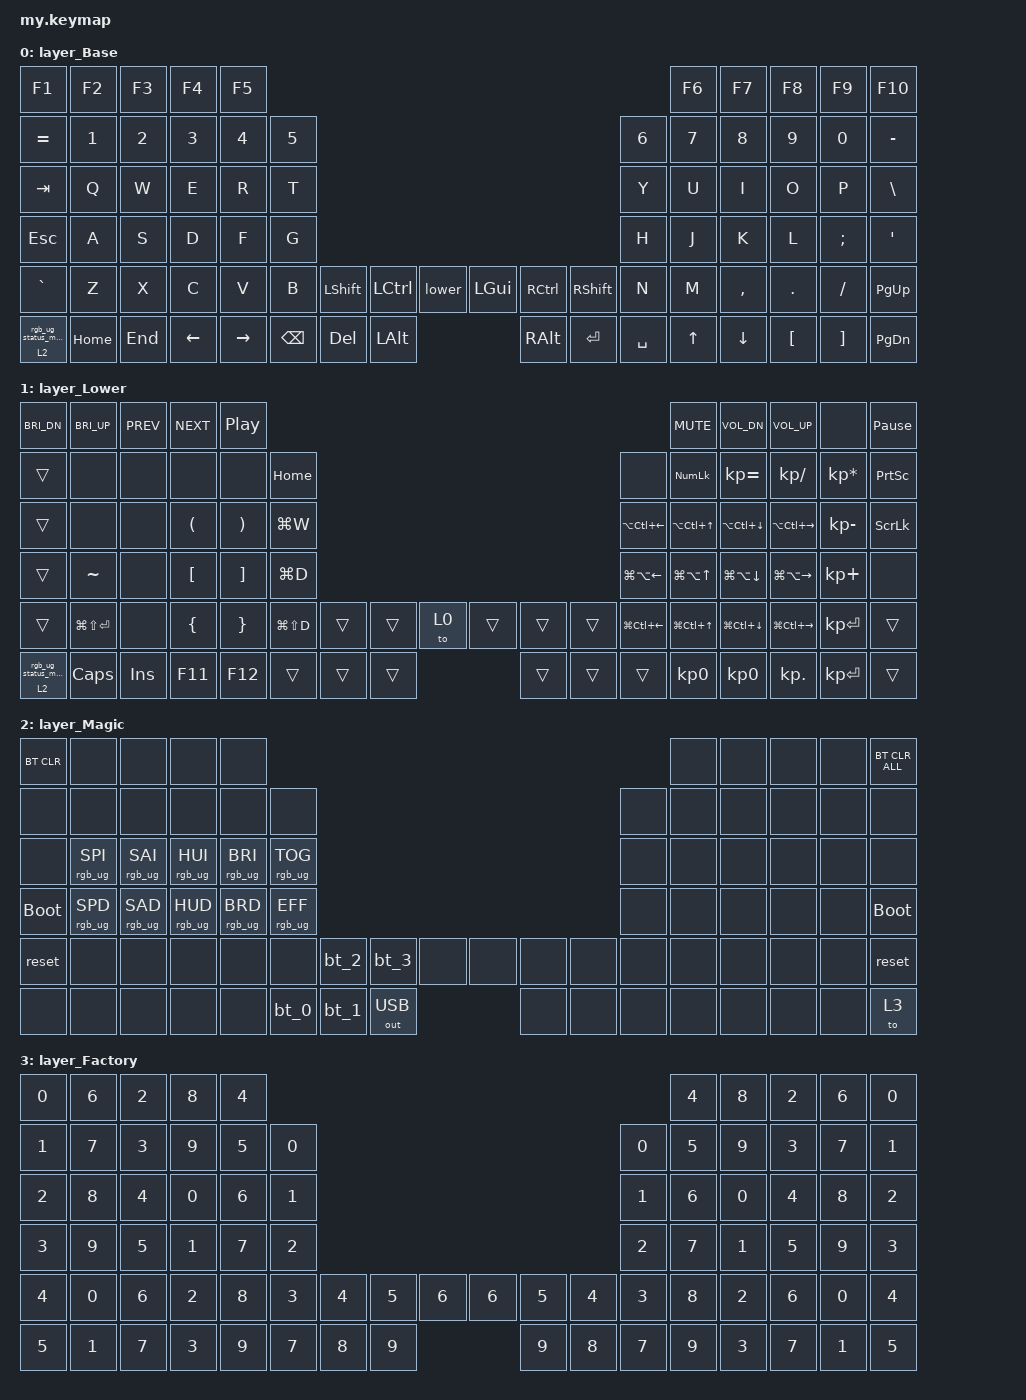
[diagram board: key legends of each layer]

/*
 * Copyright (c) 2020 The ZMK Contributors
 * Copyright (c) 2022 Innaworks Development Limited, trading as MoErgo
 *
 * SPDX-License-Identifier: MIT
 */


/* THIS FILE WAS GENERATED BY GLOVE80 LAYOUT EDITOR
 *
 * This file was generated automatically. You may or may not want to
 * edit it directly.
 */

#include <behaviors.dtsi>
/* Include all behaviour includes needed by system behaviors/macros */
#include <dt-bindings/zmk/outputs.h>

/* Include behaviour includes needed by key binds - automatically generated */
#include <dt-bindings/zmk/keys.h>
#include <dt-bindings/zmk/bt.h>
#include <dt-bindings/zmk/rgb.h>
#include <dt-bindings/zmk/outputs.h>


/ {
    /* Glove80 system behavior & macros */
    behaviors {
        // For the "layer" key, it'd nice to be able to use it as either a shift or a toggle.
        // Configure it as a tap dance, so the first tap (or hold) is a &mo and the second tap is a &to
        lower: tap_dance_0 {
            compatible = "zmk,behavior-tap-dance";
            label = "LAYER_TAP_DANCE";
            #binding-cells = <0>;
            tapping-term-ms = <200>;
            bindings = <&mo 1>, <&to 1>;
        };
    };

    macros {
        rgb_ug_status_macro: rgb_ug_status_macro_0 {
            label = "RGB_UG_STATUS";
            compatible = "zmk,behavior-macro";
            #binding-cells = <0>;
            bindings
                = <&rgb_ug RGB_STATUS>;
        };
    };

    macros {
        bt_0: bt_profile_macro_0 {
            label = "BT_0";
            compatible = "zmk,behavior-macro";
            #binding-cells = <0>;
            bindings
                = <&out OUT_BLE>,
                  <&bt BT_SEL 0>;
        };
    };

    macros {
        bt_1: bt_profile_macro_1 {
            label = "BT_1";
            compatible = "zmk,behavior-macro";
            #binding-cells = <0>;
            bindings
                = <&out OUT_BLE>,
                  <&bt BT_SEL 1>;
        };
    };

    macros {
        bt_2: bt_profile_macro_2 {
            label = "BT_2";
            compatible = "zmk,behavior-macro";
            #binding-cells = <0>;
            bindings
                = <&out OUT_BLE>,
                  <&bt BT_SEL 2>;
        };
    };

    macros {
        bt_3: bt_profile_macro_3 {
            label = "BT_3";
            compatible = "zmk,behavior-macro";
            #binding-cells = <0>;
            bindings
                = <&out OUT_BLE>,
                  <&bt BT_SEL 3>;
        };
    };

    magic: magic_hold_tap {
        compatible = "zmk,behavior-hold-tap";
        label = "MAGIC_HOLD_TAP";
        #binding-cells = <2>;
        flavor = "tap-preferred";
        tapping-term-ms = <200>;
        bindings = <&mo>, <&rgb_ug_status_macro>;
    };

    /* Custom Defined Behaviors */


    /* Automatically generated keymap */
    keymap {
        compatible = "zmk,keymap";


        layer_Base {
            bindings = <
     &kp F1    &kp F2   &kp F3    &kp F4     &kp F5                                                                                  &kp F6     &kp F7    &kp F8    &kp F9    &kp F10
  &kp EQUAL    &kp N1   &kp N2    &kp N3     &kp N4  &kp N5                                                                  &kp N6  &kp N7     &kp N8    &kp N9    &kp N0  &kp MINUS
    &kp TAB     &kp Q    &kp W     &kp E      &kp R   &kp T                                                                   &kp Y   &kp U      &kp I     &kp O     &kp P   &kp BSLH
    &kp ESC     &kp A    &kp S     &kp D      &kp F   &kp G                                                                   &kp H   &kp J      &kp K     &kp L  &kp SEMI    &kp SQT
  &kp GRAVE     &kp Z    &kp X     &kp C      &kp V   &kp B  &kp LSHFT  &kp LCTRL    &lower  &kp LGUI  &kp RCTRL  &kp RSHFT   &kp N   &kp M  &kp COMMA   &kp DOT  &kp FSLH  &kp PG_UP
 &magic 2 0  &kp HOME  &kp END  &kp LEFT  &kp RIGHT           &kp BSPC    &kp DEL  &kp LALT  &kp RALT    &kp RET  &kp SPACE          &kp UP   &kp DOWN  &kp LBKT  &kp RBKT  &kp PG_DN
            >;
        };

        layer_Lower {
            bindings = <
 &kp C_BRI_DN     &kp C_BRI_UP  &kp C_PREV  &kp C_NEXT  &kp C_PP                                                                                       &kp C_MUTE      &kp C_VOL_DN       &kp C_VOL_UP            &none  &kp PAUSE_BREAK
       &trans            &none       &none       &none     &none       &kp HOME                                                             &none      &kp KP_NUM      &kp KP_EQUAL       &kp KP_SLASH  &kp KP_MULTIPLY  &kp PRINTSCREEN
       &trans            &none       &none    &kp LPAR  &kp RPAR      &kp LG(W)                                                  &kp LA(LC(LEFT))  &kp LA(LC(UP))  &kp LA(LC(DOWN))  &kp LA(LC(RIGHT))     &kp KP_MINUS   &kp SCROLLLOCK
       &trans        &kp TILDE       &none    &kp LBKT  &kp RBKT      &kp LG(D)                                                  &kp LG(LA(LEFT))  &kp LG(LA(UP))  &kp LG(LA(DOWN))  &kp LG(LA(RIGHT))      &kp KP_PLUS            &none
       &trans  &kp LG(LS(RET))       &none    &kp LBRC  &kp RBRC  &kp LG(LS(D))  &trans  &trans   &to 0  &trans  &trans  &trans  &kp LG(LC(LEFT))  &kp LG(LC(UP))  &kp LG(LC(DOWN))  &kp LG(LC(RIGHT))     &kp KP_ENTER           &trans
   &magic 2 0         &kp CAPS     &kp INS     &kp F11   &kp F12                 &trans  &trans  &trans  &trans  &trans  &trans                         &kp KP_N0         &kp KP_N0         &kp KP_DOT     &kp KP_ENTER           &trans
            >;
        };

        layer_Magic {
            bindings = <
  &bt BT_CLR            &none            &none            &none            &none                                                                                  &none   &none   &none   &none  &bt BT_CLR_ALL
       &none            &none            &none            &none            &none            &none                                                         &none   &none   &none   &none   &none           &none
       &none  &rgb_ug RGB_SPI  &rgb_ug RGB_SAI  &rgb_ug RGB_HUI  &rgb_ug RGB_BRI  &rgb_ug RGB_TOG                                                         &none   &none   &none   &none   &none           &none
 &bootloader  &rgb_ug RGB_SPD  &rgb_ug RGB_SAD  &rgb_ug RGB_HUD  &rgb_ug RGB_BRD  &rgb_ug RGB_EFF                                                         &none   &none   &none   &none   &none     &bootloader
      &reset            &none            &none            &none            &none            &none   &bt_2   &bt_3         &none   &none   &none   &none   &none   &none   &none   &none   &none          &reset
       &none            &none            &none            &none            &none                    &bt_0   &bt_1  &out OUT_USB   &none   &none   &none           &none   &none   &none   &none           &to 3
            >;
        };

        layer_Factory {
            bindings = <
 &kp NUMBER_0  &kp NUMBER_6  &kp NUMBER_2  &kp NUMBER_8  &kp NUMBER_4                                                                                                                  &kp NUMBER_4  &kp NUMBER_8  &kp NUMBER_2  &kp NUMBER_6  &kp NUMBER_0
 &kp NUMBER_1  &kp NUMBER_7  &kp NUMBER_3  &kp NUMBER_9  &kp NUMBER_5  &kp NUMBER_0                                                                                      &kp NUMBER_0  &kp NUMBER_5  &kp NUMBER_9  &kp NUMBER_3  &kp NUMBER_7  &kp NUMBER_1
 &kp NUMBER_2  &kp NUMBER_8  &kp NUMBER_4  &kp NUMBER_0  &kp NUMBER_6  &kp NUMBER_1                                                                                      &kp NUMBER_1  &kp NUMBER_6  &kp NUMBER_0  &kp NUMBER_4  &kp NUMBER_8  &kp NUMBER_2
 &kp NUMBER_3  &kp NUMBER_9  &kp NUMBER_5  &kp NUMBER_1  &kp NUMBER_7  &kp NUMBER_2                                                                                      &kp NUMBER_2  &kp NUMBER_7  &kp NUMBER_1  &kp NUMBER_5  &kp NUMBER_9  &kp NUMBER_3
 &kp NUMBER_4  &kp NUMBER_0  &kp NUMBER_6  &kp NUMBER_2  &kp NUMBER_8  &kp NUMBER_3  &kp NUMBER_4  &kp NUMBER_5  &kp NUMBER_6  &kp NUMBER_6  &kp NUMBER_5  &kp NUMBER_4  &kp NUMBER_3  &kp NUMBER_8  &kp NUMBER_2  &kp NUMBER_6  &kp NUMBER_0  &kp NUMBER_4
 &kp NUMBER_5  &kp NUMBER_1  &kp NUMBER_7  &kp NUMBER_3  &kp NUMBER_9                &kp NUMBER_7  &kp NUMBER_8  &kp NUMBER_9  &kp NUMBER_9  &kp NUMBER_8  &kp NUMBER_7                &kp NUMBER_9  &kp NUMBER_3  &kp NUMBER_7  &kp NUMBER_1  &kp NUMBER_5
            >;
        };

    };
};
